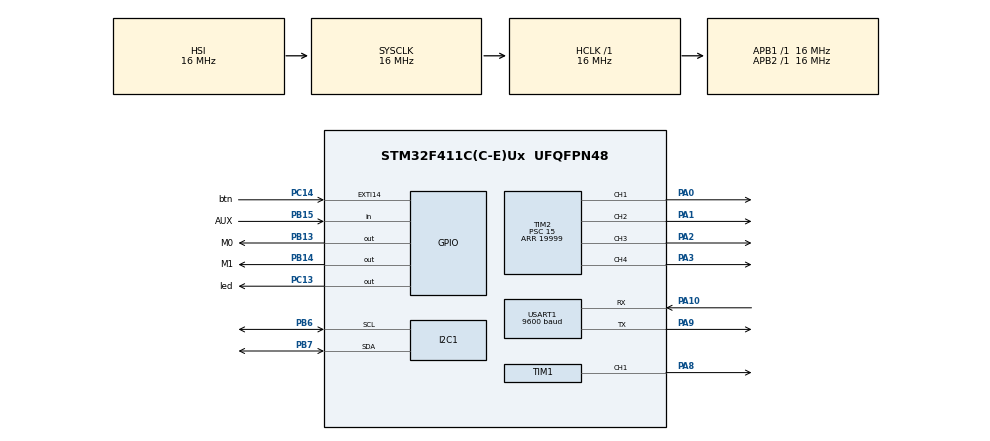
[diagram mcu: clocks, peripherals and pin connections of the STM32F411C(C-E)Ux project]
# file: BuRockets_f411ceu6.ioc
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ADC1.Channel-0\#ChannelRegularConversion=ADC_CHANNEL_VREFINT
ADC1.ContinuousConvMode=ENABLE
ADC1.NbrOfConversionFlag=1
ADC1.Rank-0\#ChannelRegularConversion=1
ADC1.SamplingTime-0\#ChannelRegularConversion=ADC_SAMPLETIME_15CYCLES
ADC1.master=1
I2C1.I2C_Mode=I2C_Standard
Mcu.Family=STM32F4
Mcu.Name=STM32F411C(C-E)Ux
Mcu.Package=UFQFPN48
NVIC.EXTI15_10_IRQn=true\:0\:0\:false\:false\:true\:true\:true\:true
NVIC.PriorityGroup=NVIC_PRIORITYGROUP_4
NVIC.TIM3_IRQn=true\:0\:0\:false\:false\:true\:true\:true\:true
NVIC.USART1_IRQn=true\:0\:0\:false\:false\:true\:true\:true\:true
PA0-WKUP.Signal=S_TIM2_CH1_ETR
PA1.Signal=S_TIM2_CH2
PA10.Mode=Asynchronous
PA10.Signal=USART1_RX
PA13.Mode=Trace_Asynchronous_SW
PA13.Signal=SYS_JTMS-SWDIO
PA14.Mode=Trace_Asynchronous_SW
PA14.Signal=SYS_JTCK-SWCLK
PA2.Signal=S_TIM2_CH3
PA3.Signal=S_TIM2_CH4
PA8.Signal=S_TIM1_CH1
PA9.Mode=Asynchronous
PA9.Signal=USART1_TX
PB13.GPIO_Label=M0
PB13.GPIO_PuPd=GPIO_PULLDOWN
PB13.Signal=GPIO_Output
PB14.GPIO_Label=M1
PB14.GPIO_PuPd=GPIO_PULLDOWN
PB14.Signal=GPIO_Output
PB15.GPIO_Label=AUX
PB15.GPIO_PuPd=GPIO_PULLUP
PB15.Signal=GPIO_Input
PB3.Mode=Trace_Asynchronous_SW
PB3.Signal=SYS_JTDO-SWO
PB6.Mode=I2C
PB6.Signal=I2C1_SCL
PB7.Mode=I2C
PB7.Signal=I2C1_SDA
PC13-ANTI_TAMP.GPIO_Label=led
PC13-ANTI_TAMP.Signal=GPIO_Output
PC14-OSC32_IN.GPIO_Label=btn
PC14-OSC32_IN.GPIO_ModeDefaultEXTI=GPIO_MODE_IT_FALLING
PC14-OSC32_IN.GPIO_PuPd=GPIO_PULLUP
PC14-OSC32_IN.Signal=GPXTI14
ProjectManager.HeapSize=0x200
ProjectManager.StackSize=0x400
ProjectManager.TargetToolchain=STM32CubeIDE
RCC.AHBFreq_Value=16000000
RCC.APB1Freq_Value=16000000
RCC.APB2Freq_Value=16000000
RCC.CortexFreq_Value=16000000
RCC.HSE_VALUE=25000000
RCC.HSI_VALUE=16000000
RCC.LSE_VALUE=32768
RCC.SYSCLKFreq_VALUE=16000000
RCC.VCOOutputFreq_Value=192000000
SH.S_TIM1_CH1.0=TIM1_CH1,PWM Generation1 CH1
SH.S_TIM2_CH1_ETR.0=TIM2_CH1,PWM Generation1 CH1
SH.S_TIM2_CH2.0=TIM2_CH2,PWM Generation2 CH2
SH.S_TIM2_CH3.0=TIM2_CH3,PWM Generation3 CH3
SH.S_TIM2_CH4.0=TIM2_CH4,PWM Generation4 CH4
TIM1.AutoReloadPreload=TIM_AUTORELOAD_PRELOAD_ENABLE
TIM1.Channel-PWM\ Generation1\ CH1=TIM_CHANNEL_1
TIM1.Period=19999
TIM1.Prescaler=15
TIM2.AutoReloadPreload=TIM_AUTORELOAD_PRELOAD_ENABLE
TIM2.Channel-PWM\ Generation1\ CH1=TIM_CHANNEL_1
TIM2.Channel-PWM\ Generation2\ CH2=TIM_CHANNEL_2
TIM2.Channel-PWM\ Generation3\ CH3=TIM_CHANNEL_3
TIM2.Channel-PWM\ Generation4\ CH4=TIM_CHANNEL_4
TIM2.Period=19999
TIM2.Prescaler=15
TIM3.AutoReloadPreload=TIM_AUTORELOAD_PRELOAD_ENABLE
TIM3.Period=9999
TIM3.Prescaler=15
USART1.BaudRate=9600
USART1.VirtualMode=VM_ASYNC
VP_ADC1_Vref_Input.Mode=IN-Vrefint
VP_TIM1_VS_ClockSourceINT.Mode=Internal
VP_TIM2_VS_ClockSourceINT.Mode=Internal
VP_TIM3_VS_ClockSourceINT.Mode=Internal
board=custom

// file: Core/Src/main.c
/* USER CODE BEGIN Header */
/**
  ******************************************************************************
  * @file           : main.c
  * @brief          : Main program body
  ******************************************************************************
  * @attention
  *
  * Copyright (c) 2024 STMicroelectronics.
  * All rights reserved.
  *
  * This software is licensed under terms that can be found in the LICENSE file
  * in the root directory of this software component.
  * If no LICENSE file comes with this software, it is provided AS-IS.
  *
  ******************************************************************************
  */
/* USER CODE END Header */
#include "main.h"
#include "adc.h"
#include "i2c.h"
#include "tim.h"
#include "usart.h"
#include "gpio.h"

/* USER CODE BEGIN Includes */
#include "lora.h"
/* USER CODE END Includes */

/* USER CODE BEGIN PD */
#define btn_time 200
/* USER CODE END PD */

/* USER CODE BEGIN PV */
struct Rocket rocket;
struct Atmosphere_param atmosphere;
struct Altitude altitude;
struct Accelerate accelerate;
struct Gyro gyro;
struct Radio radio;

struct GMedian gmedian_a[3];
struct GMedian gmedian_g[3];

struct GMedian gmedian_alt;

struct Angle angle;

struct Angle_velocity angle_velocity;

struct PID pid;

float Kp = 1;

float Ki = 1;

float Kd = 0;

char rx_buffer[100] = {0,};

uint8_t flag_irq = 0;
uint32_t time_irq = 0;

uint32_t time = 0;
//uint8_t counter = 0;
//float destination_a_f_m[3] = {0,};

bool PID_WORK = 0;

static float set_data[dimension_in] = {0,};

uint8_t lora_rx_ready = 0;    // Флаг готовности данных
/* USER CODE END PV */

void SystemClock_Config(void);

/* USER CODE BEGIN 0 */
void start_blink_led(GPIO_TypeDef *GPIOx, uint16_t GPIO_Pin, uint16_t time){
	HAL_GPIO_WritePin(GPIOx, GPIO_Pin, GPIO_PIN_SET);
	HAL_Delay(time);
	HAL_GPIO_WritePin(GPIOx, GPIO_Pin, GPIO_PIN_RESET);

}

float tick_to_sec(uint32_t tick){
	return tick/(float)1000;
}
/* USER CODE END 0 */

int main(void)
{

  /* MCU Configuration--------------------------------------------------------*/

  /* Reset of all peripherals, Initializes the Flash interface and the Systick. */
  HAL_Init();

  /* Configure the system clock */
  SystemClock_Config();

  /* USER CODE BEGIN SysInit */
  __HAL_RCC_I2C1_CLK_ENABLE();
    HAL_Delay(100);
    __HAL_RCC_I2C1_FORCE_RESET();
    HAL_Delay(100);
    __HAL_RCC_I2C1_RELEASE_RESET();
    HAL_Delay(100);
  /* USER CODE END SysInit */

  /* Initialize all configured peripherals */
  MX_GPIO_Init();
  MX_USART1_UART_Init();
  MX_ADC1_Init();
  MX_I2C1_Init();
  MX_TIM1_Init();
  MX_TIM3_Init();
  MX_TIM2_Init();
  /* USER CODE BEGIN 2 */
	HAL_UARTEx_ReceiveToIdle_IT(&huart1, (uint8_t *)&rx_buffer, 100);
	__HAL_UART_ENABLE_IT(&huart1, UART_IT_IDLE);

    //HAL_ADCEx_Calibration_Start(&hadc1);

    HAL_ADC_Start(&hadc1);

    HAL_TIM_PWM_Start(&htim1, TIM_CHANNEL_1);

    HAL_TIM_PWM_Start(&htim2, TIM_CHANNEL_2);

    HAL_TIM_PWM_Start(&htim2, TIM_CHANNEL_3);

    HAL_TIM_PWM_Start(&htim2, TIM_CHANNEL_4);

    HAL_GPIO_WritePin(led_GPIO_Port, led_Pin, GPIO_PIN_SET);

    atmosphere_init(&atmosphere);

    rocket_init(&rocket, "1A", &altitude, &atmosphere, &accelerate, &angle, &angle_velocity);

    if (CheckFlashData()) {
  	  ReadFromFlash(&rocket); // Чтение данных из Flash, если они корректны
    }
    else {
  	  delta_init(&rocket);
    }

    angle_init(&angle);

    angle_velocity_init(&angle_velocity);

    PID_init(&pid);

    set_PID_coefficients(&pid, Kp, Ki, Kd);

    //altitude_init(&rocket);

    rescue_system_init(TIM1);

    initGMedian(&gmedian_alt);

    for(int i = 0; i < 3; i++){
  	  initGMedian(&(gmedian_a[i]));
  	  initGMedian(&(gmedian_g[i]));
    }

    radio_init(&radio);

    HAL_TIM_Base_Start_IT(&htim3);
    LoRa_Init();

    HAL_Delay(500);
    HAL_GPIO_WritePin(led_GPIO_Port, led_Pin, GPIO_PIN_RESET);
    HAL_Delay(200);
    start_blink_led(led_GPIO_Port, led_Pin, 200);
  /* USER CODE END 2 */

  /* Infinite loop */
  /* USER CODE BEGIN WHILE */
  while (1)
  {
	  /*get_inertia_measurement(&accelerate, &gyro);

	  filtered_inertia_measurement(&accelerate, &gyro,gmedian_a,gmedian_g);

	  get_inertia_measurement_mod(&accelerate, &gyro);

	  angle_calculate(&angle, &accelerate);

	  angle_velocity_calculate(&angle_velocity, &gyro);

	  get_altitude_measurement(&rocket);

	  filtered_altitude_measurement(&rocket, &gmedian_alt);

	  if(flag_irq && (HAL_GetTick() - time_irq) > btn_time)
		  {
		  turn_servo(90);
		  }

	  fly_control(&rocket);

	  if(rocket.activate_point){
		 //turn_servo(90);
	  }
	  rocket.time = tick_to_sec(HAL_GetTick());
	  rocket.battery_voltage = get_mcu_voltage();

	  if(PID_WORK == true){
		  get_PID_out(&pid, &angle, &angle_velocity, set_data);
		  //set_pwm(&pid);			//Раскоментировать при стабильном уровне питания 5Вольт
		  PID_WORK = false;
	  }
*/
	  __disable_irq();
	  rocket.time = tick_to_sec(HAL_GetTick());
	  rocket.battery_voltage = get_mcu_voltage();
	  __enable_irq();
	  if(HAL_GetTick() - time > Hz_to_ms(radio.frequency_data_transmission)){
		  time = HAL_GetTick();
		  if(LoRa_is_Ready())
			  transmit_data(&rocket, &radio);
	  }

	  Process_LoRa_Data();  // Неблокирующая обработка
    /* USER CODE END WHILE */

  }
}

void SystemClock_Config(void)
{
  RCC_OscInitTypeDef RCC_OscInitStruct = {0};
  RCC_ClkInitTypeDef RCC_ClkInitStruct = {0};

  /** Configure the main internal regulator output voltage
  */
  __HAL_RCC_PWR_CLK_ENABLE();
  __HAL_PWR_VOLTAGESCALING_CONFIG(PWR_REGULATOR_VOLTAGE_SCALE1);

  /** Initializes the RCC Oscillators according to the specified parameters
  * in the RCC_OscInitTypeDef structure.
  */
  RCC_OscInitStruct.OscillatorType = RCC_OSCILLATORTYPE_HSI;
  RCC_OscInitStruct.HSIState = RCC_HSI_ON;
  RCC_OscInitStruct.HSICalibrationValue = RCC_HSICALIBRATION_DEFAULT;
  RCC_OscInitStruct.PLL.PLLState = RCC_PLL_NONE;
  if (HAL_RCC_OscConfig(&RCC_OscInitStruct) != HAL_OK)
  {
    Error_Handler();
  }

  /** Initializes the CPU, AHB and APB buses clocks
  */
  RCC_ClkInitStruct.ClockType = RCC_CLOCKTYPE_HCLK|RCC_CLOCKTYPE_SYSCLK
                              |RCC_CLOCKTYPE_PCLK1|RCC_CLOCKTYPE_PCLK2;
  RCC_ClkInitStruct.SYSCLKSource = RCC_SYSCLKSOURCE_HSI;
  RCC_ClkInitStruct.AHBCLKDivider = RCC_SYSCLK_DIV1;
  RCC_ClkInitStruct.APB1CLKDivider = RCC_HCLK_DIV1;
  RCC_ClkInitStruct.APB2CLKDivider = RCC_HCLK_DIV1;

  if (HAL_RCC_ClockConfig(&RCC_ClkInitStruct, FLASH_LATENCY_0) != HAL_OK)
  {
    Error_Handler();
  }
}

/* USER CODE BEGIN 4 */
void HAL_GPIO_EXTI_Callback(uint16_t GPIO_Pin){
    if(GPIO_Pin == btn_Pin){
  	  HAL_NVIC_DisableIRQ(EXTI15_10_IRQn);  // сразу же отключаем прерывания на этом пине
  	  flag_irq = 1;							//поднимаем флажок
  	  time_irq = HAL_GetTick();				//запоминаем текущее время
    }
}
/* USER CODE END 4 */

void Error_Handler(void)
{
  __disable_irq();
  while (1)
  {
  }
}
